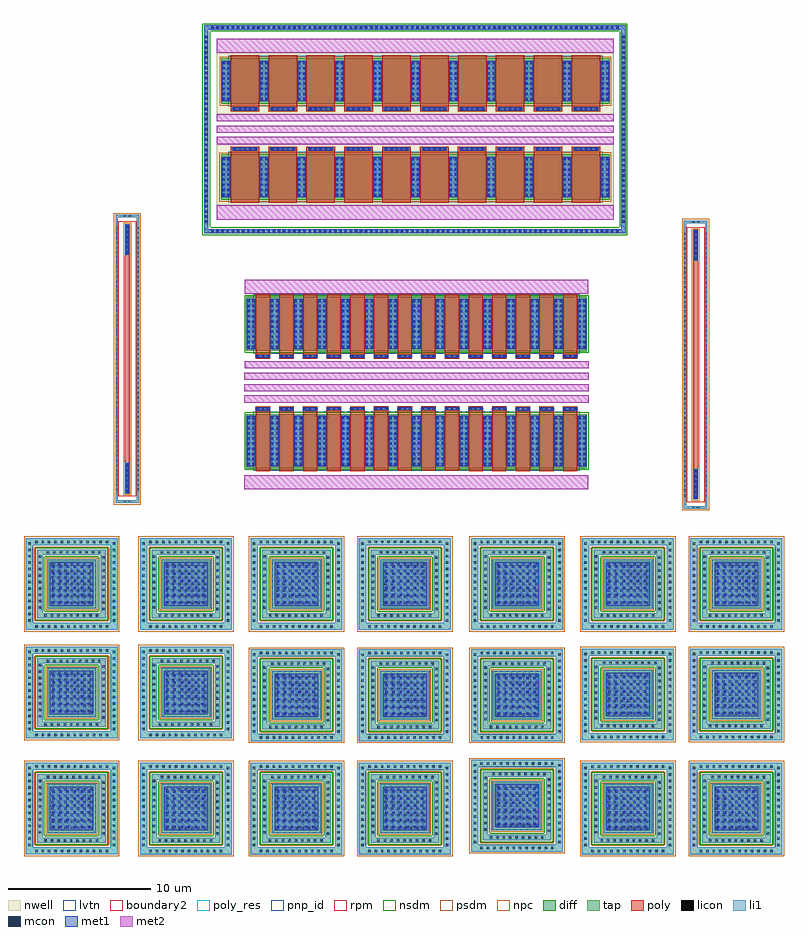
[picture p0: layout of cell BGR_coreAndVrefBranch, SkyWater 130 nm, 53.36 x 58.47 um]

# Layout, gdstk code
import gdstk
lib = gdstk.Library(unit=1e-6, precision=1e-09)
def R(c, l, rs):  # rectangles x0, y0, x1, y1
    for r in rs: c.add(gdstk.rectangle(r[:2], r[2:], *l))
def A(c, l, x, y, w, h, nx, ny, dx, dy):  # array of equal rectangles
    R(c, l, [(x+i*dx, y+j*dy, x+i*dx+w, y+j*dy+h) for i in range(nx) for j in range(ny)])
def P(c, l, *ps):  # polygons
    for p in ps: c.add(gdstk.Polygon(p, *l))
nwell = (64, 20)
diff = (65, 20)
tap = (65, 44)
poly_res = (66, 13)
poly = (66, 20)
licon = (66, 44)
li1 = (67, 20)
mcon = (67, 44)
met1 = (68, 20)
met2 = (69, 20)
pnp_id = (82, 44)
rpm = (86, 20)
nsdm = (93, 44)
psdm = (94, 20)
npc = (95, 20)
lvtn = (125, 44)
boundary2 = (236, 0)

pfet = lib.new_cell('pfet')
R(pfet, nwell, [(-0.305,-0.38,3.625,3.92)])
R(pfet, diff, [(0,0,3.32,3.2)])
R(pfet, poly, [(0.66,-0.2,2.66,3.4), (0.66,3.4,2.66,3.73)])
A(pfet, licon, 0.065, 0.255, 0.17, 0.17, 1, 8, 0, 0.36)
A(pfet, licon, 0.425, 0.255, 0.17, 0.17, 1, 8, 0, 0.36)
A(pfet, licon, 2.725, 0.255, 0.17, 0.17, 1, 8, 0, 0.36)
A(pfet, licon, 3.085, 0.255, 0.17, 0.17, 1, 8, 0, 0.36)
A(pfet, licon, 0.855, 3.48, 0.17, 0.17, 5, 1, 0.36, 0)
R(pfet, li1, [(0.065,0.175,0.595,3.025), (2.725,0.175,3.255,3.025), (0.775,3.48,2.545,3.65)])
A(pfet, mcon, 0.065, 0.255, 0.17, 0.17, 1, 8, 0, 0.36)
A(pfet, mcon, 0.425, 0.255, 0.17, 0.17, 1, 8, 0, 0.36)
A(pfet, mcon, 2.725, 0.255, 0.17, 0.17, 1, 8, 0, 0.36)
A(pfet, mcon, 3.085, 0.255, 0.17, 0.17, 1, 8, 0, 0.36)
A(pfet, mcon, 0.855, 3.48, 0.17, 0.17, 5, 1, 0.36, 0)
R(pfet, met1, [(0.035,0.195,0.625,3.005), (2.695,0.195,3.285,3.005), (0.795,3.45,2.525,3.68)])
R(pfet, psdm, [(-0.125,-0.125,3.445,3.325)])
R(pfet, npc, [(0.65,3.39,2.67,3.74)])
R(pfet, lvtn, [(0.48,-0.18,2.84,3.38)])

nfet = lib.new_cell('nfet')
R(nfet, diff, [(0,0,2.32,3.8)])
R(nfet, poly, [(0.66,-0.2,1.66,4), (0.66,4,1.66,4.33)])
A(nfet, licon, 0.065, 0.195, 0.17, 0.17, 1, 10, 0, 0.36)
A(nfet, licon, 0.425, 0.195, 0.17, 0.17, 1, 10, 0, 0.36)
A(nfet, licon, 1.725, 0.195, 0.17, 0.17, 1, 10, 0, 0.36)
A(nfet, licon, 2.085, 0.195, 0.17, 0.17, 1, 10, 0, 0.36)
A(nfet, licon, 0.715, 4.08, 0.17, 0.17, 3, 1, 0.36, 0)
R(nfet, li1, [(0.065,0.115,0.595,3.685), (1.725,0.115,2.255,3.685), (0.635,4.08,1.685,4.25)])
A(nfet, mcon, 0.065, 0.195, 0.17, 0.17, 1, 10, 0, 0.36)
A(nfet, mcon, 0.425, 0.195, 0.17, 0.17, 1, 10, 0, 0.36)
A(nfet, mcon, 1.725, 0.195, 0.17, 0.17, 1, 10, 0, 0.36)
A(nfet, mcon, 2.085, 0.195, 0.17, 0.17, 1, 10, 0, 0.36)
A(nfet, mcon, 0.715, 4.08, 0.17, 0.17, 3, 1, 0.36, 0)
R(nfet, met1, [(0.035,0.135,0.625,3.665), (1.695,0.135,2.285,3.665), (0.655,4.05,1.665,4.28)])
R(nfet, nsdm, [(-0.125,-0.125,2.445,3.925)])
R(nfet, npc, [(0.65,3.99,1.67,4.34)])
R(nfet, lvtn, [(0.48,-0.18,1.84,3.98)])

pfet_1 = lib.new_cell('pfet$1')
R(pfet_1, nwell, [(-0.305,-0.72,3.625,3.58)])
R(pfet_1, diff, [(0,0,3.32,3.2)])
R(pfet_1, poly, [(0.66,-0.53,2.66,-0.2), (0.66,-0.2,2.66,3.4)])
A(pfet_1, licon, 0.855, -0.45, 0.17, 0.17, 5, 1, 0.36, 0)
A(pfet_1, licon, 0.065, 0.255, 0.17, 0.17, 1, 8, 0, 0.36)
A(pfet_1, licon, 0.425, 0.255, 0.17, 0.17, 1, 8, 0, 0.36)
A(pfet_1, licon, 2.725, 0.255, 0.17, 0.17, 1, 8, 0, 0.36)
A(pfet_1, licon, 3.085, 0.255, 0.17, 0.17, 1, 8, 0, 0.36)
R(pfet_1, li1, [(0.775,-0.45,2.545,-0.28), (0.065,0.175,0.595,3.025), (2.725,0.175,3.255,3.025)])
A(pfet_1, mcon, 0.855, -0.45, 0.17, 0.17, 5, 1, 0.36, 0)
A(pfet_1, mcon, 0.065, 0.255, 0.17, 0.17, 1, 8, 0, 0.36)
A(pfet_1, mcon, 0.425, 0.255, 0.17, 0.17, 1, 8, 0, 0.36)
A(pfet_1, mcon, 2.725, 0.255, 0.17, 0.17, 1, 8, 0, 0.36)
A(pfet_1, mcon, 3.085, 0.255, 0.17, 0.17, 1, 8, 0, 0.36)
R(pfet_1, met1, [(0.795,-0.48,2.525,-0.25), (0.035,0.195,0.625,3.005), (2.695,0.195,3.285,3.005)])
R(pfet_1, psdm, [(-0.125,-0.125,3.445,3.325)])
R(pfet_1, npc, [(0.65,-0.54,2.67,-0.19)])
R(pfet_1, lvtn, [(0.48,-0.18,2.84,3.38)])

guard_ring_gen = lib.new_cell('guard_ring_gen')
P(guard_ring_gen, tap, [(-0.3,-0.3),(-0.3,14),(0,14),(0,0),(29,0),(29,14),(-0.3,14),(-0.3,14.3),(29.3,14.3),(29.3,-0.3)])
A(guard_ring_gen, licon, 0.195, -0.235, 0.17, 0.17, 80, 2, 0.36, 14.3)
A(guard_ring_gen, licon, -0.235, 0.435, 0.17, 0.17, 1, 37, 0, 0.36)
A(guard_ring_gen, licon, 29.065, 0.435, 0.17, 0.17, 1, 37, 0, 0.36)
P(guard_ring_gen, li1, [(-0.3,-0.3),(-0.3,14),(0,14),(0,0),(29,0),(29,14),(-0.3,14),(-0.3,14.3),(29.3,14.3),(29.3,-0.3)])
A(guard_ring_gen, mcon, 0.195, -0.235, 0.17, 0.17, 80, 2, 0.36, 14.3)
A(guard_ring_gen, mcon, -0.235, 0.435, 0.17, 0.17, 1, 37, 0, 0.36)
A(guard_ring_gen, mcon, 29.065, 0.435, 0.17, 0.17, 1, 37, 0, 0.36)
P(guard_ring_gen, met1, [(-0.3,-0.3),(-0.3,14),(0,14),(0,0),(29,0),(29,14),(-0.3,14),(-0.3,14.3),(29.3,14.3),(29.3,-0.3)])
P(guard_ring_gen, nsdm, [(-0.425,-0.425),(-0.425,13.875),(0.125,13.875),(0.125,0.125),(28.875,0.125),(28.875,13.875),(-0.425,13.875),(-0.425,14.425),(29.425,14.425),(29.425,-0.425)])

pnp_bjt = lib.new_cell('pnp_bjt')
R(pnp_bjt, nwell, [(0.765,0.765,5.935,5.935)])
R(pnp_bjt, diff, [(1.65,1.65,5.05,5.05)])
P(pnp_bjt, tap, [(0.945,0.945),(0.945,5.755),(5.395,5.755),(5.395,5.395),(1.305,5.395),(1.305,1.305),(5.395,1.305),(5.395,5.755),(5.755,5.755),(5.755,0.945)],
  [(0.13,0.13),(0.13,6.57),(6.065,6.57),(6.065,6.065),(0.635,6.065),(0.635,0.635),(6.065,0.635),(6.065,6.57),(6.57,6.57),(6.57,0.13)])
A(pnp_bjt, licon, 0.78, 0.29, 0.17, 0.17, 12, 2, 0.45, 5.935)
A(pnp_bjt, licon, 0.3, 0.71, 0.17, 0.17, 1, 13, 0, 0.45)
A(pnp_bjt, licon, 6.235, 0.71, 0.17, 0.17, 1, 13, 0, 0.45)
A(pnp_bjt, licon, 1.43, 1.04, 0.17, 0.17, 9, 1, 0.45, 0)
A(pnp_bjt, licon, 5.49, 1.51, 0.17, 0.17, 1, 9, 0, 0.45)
A(pnp_bjt, licon, 1.04, 1.605, 0.17, 0.17, 1, 9, 0, 0.45)
A(pnp_bjt, licon, 1.92, 1.92, 0.17, 0.17, 7, 7, 0.45, 0.45)
A(pnp_bjt, licon, 1.6, 5.49, 0.17, 0.17, 9, 1, 0.45, 0)
A(pnp_bjt, li1, 0.58, 0.21, 0.33, 0.33, 12, 1, 0.45, 0)
A(pnp_bjt, li1, 0.675, 0.24, 0.27, 0.27, 11, 2, 0.5, 5.96)
A(pnp_bjt, li1, 6.16, 0.54, 0.33, 0.33, 1, 13, 0, 0.45)
A(pnp_bjt, li1, 0.22, 0.63, 0.33, 0.33, 1, 13, 0, 0.45)
A(pnp_bjt, li1, 1.35, 0.96, 0.33, 0.33, 9, 1, 0.45, 0)
A(pnp_bjt, li1, 1.14, 0.985, 0.27, 0.27, 9, 1, 0.5, 0)
A(pnp_bjt, li1, 5.41, 1.43, 0.33, 0.33, 1, 9, 0, 0.45)
A(pnp_bjt, li1, 0.96, 1.525, 0.33, 0.33, 1, 9, 0, 0.45)
A(pnp_bjt, li1, 1.84, 1.84, 0.33, 0.33, 7, 7, 0.45, 0.45)
A(pnp_bjt, li1, 1.93, 1.93, 0.27, 0.27, 6, 6, 0.5, 0.5)
A(pnp_bjt, li1, 1.52, 5.41, 0.33, 0.33, 9, 1, 0.45, 0)
A(pnp_bjt, li1, 1.155, 5.44, 0.27, 0.27, 9, 1, 0.5, 0)
A(pnp_bjt, li1, 0.7, 6.165, 0.33, 0.33, 12, 1, 0.45, 0)
R(pnp_bjt, li1, [(1.615,1.615,5.085,5.085), (1.65,1.65,5.05,5.05)])
P(pnp_bjt, li1, [(0.13,0.13),(0.13,6.57),(6.075,6.57),(6.075,6.075),(0.625,6.075),(0.625,0.625),(6.075,0.625),(6.075,6.57),(6.57,6.57),(6.57,0.13)],
  [(0.945,0.945),(0.945,5.755),(5.395,5.755),(5.395,5.395),(1.305,5.395),(1.305,1.305),(5.395,1.305),(5.395,5.755),(5.755,5.755),(5.755,0.945)])
A(pnp_bjt, mcon, 1.98, 1.98, 0.17, 0.17, 6, 6, 0.5, 0.5)
A(pnp_bjt, met1, 1.93, 1.93, 0.27, 0.27, 6, 6, 0.5, 0.5)
R(pnp_bjt, met1, [(1.825,1.825,4.875,4.875)])
R(pnp_bjt, pnp_id, [(0.135,0.135,6.565,6.565)])
P(pnp_bjt, nsdm, [(0.805,0.805),(0.805,5.895),(5.265,5.895),(5.265,5.265),(1.435,5.265),(1.435,1.435),(5.265,1.435),(5.265,5.895),(5.895,5.895),(5.895,0.805)])
R(pnp_bjt, psdm, [(1.52,1.52,5.18,5.18)])
P(pnp_bjt, psdm, [(0,0),(0,6.7),(5.935,6.7),(5.935,5.935),(0.765,5.935),(0.765,0.765),(5.935,0.765),(5.935,6.7),(6.7,6.7),(6.7,0)])
R(pnp_bjt, boundary2, [(0.13,0.13,6.57,6.57)])
pnp_bjt.add(gdstk.Label('Emitter', (3.39,3.39), layer=67, texttype=5))
pnp_bjt.add(gdstk.Label('Collector', (3.32,6.38), layer=67, texttype=5))
pnp_bjt.add(gdstk.Label('Base', (3.245,5.61), layer=67, texttype=5))

res_poly = lib.new_cell('res_poly')
R(res_poly, tap, [(-0.825,-10.11,0.825,-9.94), (-0.825,-9.94,-0.655,9.94), (0.655,-9.94,0.825,9.94), (-0.825,9.94,0.825,10.11)])
R(res_poly, poly_res, [(-0.175,-7.36,0.175,7.36)])
R(res_poly, poly, [(-0.175,-9.46,0.175,9.46)])
A(res_poly, licon, -0.825, -9.265, 0.17, 0.17, 1, 55, 0, 0.34)
A(res_poly, licon, 0.655, -9.265, 0.17, 0.17, 1, 55, 0, 0.34)
R(res_poly, licon, [(-0.255,-10.11,-0.085,-9.94), (0.085,-10.11,0.255,-9.94), (-0.095,-9.38,0.095,-7.38), (-0.095,7.38,0.095,9.38), (-0.255,9.94,-0.085,10.11), (0.085,9.94,0.255,10.11)])
R(res_poly, li1, [(-0.825,-10.11,0.825,-9.94), (-0.825,-9.94,-0.655,9.94), (0.655,-9.94,0.825,9.94), (-0.175,-9.46,0.175,-7.3), (-0.175,7.3,0.175,9.46), (-0.825,9.94,0.825,10.11)])
A(res_poly, mcon, -0.085, -9.36, 0.17, 0.17, 1, 6, 0, 0.36)
A(res_poly, mcon, -0.085, 7.395, 0.17, 0.17, 1, 6, 0, 0.36)
R(res_poly, met1, [(-0.125,-9.43,0.125,-7.325), (-0.125,7.325,0.125,9.43)])
R(res_poly, rpm, [(-0.635,-9.66,0.635,9.66)])
R(res_poly, psdm, [(-0.95,-10.235,0.95,10.235)])
R(res_poly, npc, [(-0.27,-9.555,0.27,9.555)])

res_poly_3 = lib.new_cell('res_poly$3')
R(res_poly_3, tap, [(-0.825,-10.11,0.825,-9.94), (-0.825,-9.94,-0.655,9.94), (0.655,-9.94,0.825,9.94), (-0.825,9.94,0.825,10.11)])
R(res_poly_3, poly_res, [(-0.175,-7.36,0.175,7.36)])
R(res_poly_3, poly, [(-0.175,-9.46,0.175,9.46)])
A(res_poly_3, licon, -0.825, -9.265, 0.17, 0.17, 1, 55, 0, 0.34)
A(res_poly_3, licon, 0.655, -9.265, 0.17, 0.17, 1, 55, 0, 0.34)
R(res_poly_3, licon, [(-0.255,-10.11,-0.085,-9.94), (0.085,-10.11,0.255,-9.94), (-0.095,-9.38,0.095,-7.38), (-0.095,7.38,0.095,9.38), (-0.255,9.94,-0.085,10.11), (0.085,9.94,0.255,10.11)])
R(res_poly_3, li1, [(-0.825,-10.11,0.825,-9.94), (-0.825,-9.94,-0.655,9.94), (0.655,-9.94,0.825,9.94), (-0.175,-9.46,0.175,-7.3), (-0.175,7.3,0.175,9.46), (-0.825,9.94,0.825,10.11)])
A(res_poly_3, mcon, -0.085, -9.36, 0.17, 0.17, 1, 6, 0, 0.36)
A(res_poly_3, mcon, -0.085, 7.395, 0.17, 0.17, 1, 6, 0, 0.36)
R(res_poly_3, met1, [(-0.125,-9.43,0.125,-7.325), (-0.125,7.325,0.125,9.43)])
R(res_poly_3, rpm, [(-0.635,-9.66,0.635,9.66)])
R(res_poly_3, psdm, [(-0.95,-10.235,0.95,10.235)])
R(res_poly_3, npc, [(-0.27,-9.555,0.27,9.555)])

bgr_coreandvrefbranch = lib.new_cell('BGR_coreAndVrefBranch')
R(bgr_coreandvrefbranch, lvtn, [(109.933,37.93,132.872,42.09), (109.932,46.156,132.871,50.317), (108.17,56.769,134.47,60.329), (113.49,56.77,129.15,60.33), (108.175,63.51,134.475,67.07), (113.495,63.51,129.155,67.07)])
bgr_coreandvrefbranch.add(gdstk.FlexPath([(135.262,67.77),(107.39,67.77)], 1, ends="flush", simple_path=True, layer=69, datatype=20))  # met2
bgr_coreandvrefbranch.add(gdstk.FlexPath([(135.262,62.72),(107.391,62.72)], 0.5, ends="flush", simple_path=True, layer=69, datatype=20))  # met2
bgr_coreandvrefbranch.add(gdstk.FlexPath([(135.262,61.12),(107.384,61.12)], 0.5, ends="flush", simple_path=True, layer=69, datatype=20))  # met2
bgr_coreandvrefbranch.add(gdstk.FlexPath([(135.254,56.07),(107.384,56.07)], 1, ends="flush", simple_path=True, layer=69, datatype=20))  # met2
bgr_coreandvrefbranch.add(gdstk.FlexPath([(135.262,61.92),(107.391,61.92)], 0.5, ends="flush", simple_path=True, layer=69, datatype=20))  # met2
bgr_coreandvrefbranch.add(gdstk.FlexPath([(133.481,45.368),(109.328,45.368)], 0.5, ends="flush", simple_path=True, layer=69, datatype=20))  # met2
bgr_coreandvrefbranch.add(gdstk.FlexPath([(133.48,44.567),(109.321,44.567)], 0.5, ends="flush", simple_path=True, layer=69, datatype=20))  # met2
bgr_coreandvrefbranch.add(gdstk.FlexPath([(133.491,43.768),(109.32,43.768)], 0.5, ends="flush", simple_path=True, layer=69, datatype=20))  # met2
bgr_coreandvrefbranch.add(gdstk.FlexPath([(133.491,42.968),(109.319,42.968)], 0.5, ends="flush", simple_path=True, layer=69, datatype=20))  # met2
bgr_coreandvrefbranch.add(gdstk.FlexPath([(133.473,50.854),(109.328,50.854)], 1, ends="flush", simple_path=True, layer=69, datatype=20))  # met2
bgr_coreandvrefbranch.add(gdstk.FlexPath([(133.464,37.12),(109.315,37.12)], 1, ends="flush", simple_path=True, layer=69, datatype=20))  # met2
bgr_coreandvrefbranch.add(gdstk.Reference(pfet, (113.015,66.89), x_reflection=True))
bgr_coreandvrefbranch.add(gdstk.Reference(pfet, (115.675,66.89), x_reflection=True))
bgr_coreandvrefbranch.add(gdstk.Reference(pfet, (118.335,66.89), x_reflection=True))
bgr_coreandvrefbranch.add(gdstk.Reference(pfet, (120.995,66.89), x_reflection=True))
bgr_coreandvrefbranch.add(gdstk.Reference(pfet, (123.655,66.89), x_reflection=True))
bgr_coreandvrefbranch.add(gdstk.Reference(pfet, (126.315,66.89), x_reflection=True))
bgr_coreandvrefbranch.add(gdstk.Reference(nfet, (124.394,38.112)))
bgr_coreandvrefbranch.add(gdstk.Reference(nfet, (126.054,38.112)))
bgr_coreandvrefbranch.add(gdstk.Reference(nfet, (117.754,38.113)))
bgr_coreandvrefbranch.add(gdstk.Reference(nfet, (119.414,38.113)))
bgr_coreandvrefbranch.add(gdstk.Reference(nfet, (121.074,38.113)))
bgr_coreandvrefbranch.add(gdstk.Reference(nfet, (122.734,38.113)))
bgr_coreandvrefbranch.add(gdstk.Reference(nfet, (114.432,38.111)))
bgr_coreandvrefbranch.add(gdstk.Reference(nfet, (116.092,38.111)))
bgr_coreandvrefbranch.add(gdstk.Reference(pfet, (110.354,66.89), x_reflection=True))
bgr_coreandvrefbranch.add(gdstk.Reference(pfet_1, (128.972,60.151), x_reflection=True))
bgr_coreandvrefbranch.add(gdstk.Reference(pfet_1, (110.348,60.15), x_reflection=True))
bgr_coreandvrefbranch.add(gdstk.Reference(pfet, (115.67,56.95)))
bgr_coreandvrefbranch.add(gdstk.Reference(pfet, (126.31,56.95)))
bgr_coreandvrefbranch.add(gdstk.Reference(pfet, (123.65,56.95)))
bgr_coreandvrefbranch.add(gdstk.Reference(pfet, (120.99,56.95)))
bgr_coreandvrefbranch.add(gdstk.Reference(pfet, (118.33,56.95)))
bgr_coreandvrefbranch.add(gdstk.Reference(pfet, (113.01,56.95)))
bgr_coreandvrefbranch.add(gdstk.Reference(pfet, (107.695,66.89), x_reflection=True))
bgr_coreandvrefbranch.add(gdstk.Reference(pfet_1, (131.632,60.151), x_reflection=True))
bgr_coreandvrefbranch.add(gdstk.Reference(pfet, (131.633,66.89), x_reflection=True))
bgr_coreandvrefbranch.add(gdstk.Reference(guard_ring_gen, (106.785,54.899)))
bgr_coreandvrefbranch.add(gdstk.Reference(nfet, (111.111,38.11)))
bgr_coreandvrefbranch.add(gdstk.Reference(nfet, (112.771,38.11)))
bgr_coreandvrefbranch.add(gdstk.Reference(nfet, (129.372,38.11)))
bgr_coreandvrefbranch.add(gdstk.Reference(nfet, (127.712,38.11)))
bgr_coreandvrefbranch.add(gdstk.Reference(nfet, (109.453,38.11)))
bgr_coreandvrefbranch.add(gdstk.Reference(nfet, (131.032,38.11)))
bgr_coreandvrefbranch.add(gdstk.Reference(nfet, (109.453,50.139), x_reflection=True))
bgr_coreandvrefbranch.add(gdstk.Reference(nfet, (112.771,50.139), x_reflection=True))
bgr_coreandvrefbranch.add(gdstk.Reference(nfet, (111.111,50.139), x_reflection=True))
bgr_coreandvrefbranch.add(gdstk.Reference(nfet, (129.372,50.136), x_reflection=True))
bgr_coreandvrefbranch.add(gdstk.Reference(nfet, (127.712,50.136), x_reflection=True))
bgr_coreandvrefbranch.add(gdstk.Reference(nfet, (116.091,50.137), x_reflection=True))
bgr_coreandvrefbranch.add(gdstk.Reference(nfet, (114.431,50.137), x_reflection=True))
bgr_coreandvrefbranch.add(gdstk.Reference(nfet, (126.053,50.136), x_reflection=True))
bgr_coreandvrefbranch.add(gdstk.Reference(nfet, (124.393,50.136), x_reflection=True))
bgr_coreandvrefbranch.add(gdstk.Reference(nfet, (121.071,50.136), x_reflection=True))
bgr_coreandvrefbranch.add(gdstk.Reference(nfet, (122.731,50.136), x_reflection=True))
bgr_coreandvrefbranch.add(gdstk.Reference(nfet, (119.411,50.136), x_reflection=True))
bgr_coreandvrefbranch.add(gdstk.Reference(nfet, (117.751,50.136), x_reflection=True))
bgr_coreandvrefbranch.add(gdstk.Reference(nfet, (131.032,50.138), x_reflection=True))
bgr_coreandvrefbranch.add(gdstk.Reference(pnp_bjt, (109.614,18.82)))
bgr_coreandvrefbranch.add(gdstk.Reference(pnp_bjt, (117.23,26.634)))
bgr_coreandvrefbranch.add(gdstk.Reference(pnp_bjt, (117.229,18.819)))
bgr_coreandvrefbranch.add(gdstk.Reference(pnp_bjt, (125.114,18.82)))
bgr_coreandvrefbranch.add(gdstk.Reference(pnp_bjt, (125.112,11.058)))
bgr_coreandvrefbranch.add(gdstk.Reference(pnp_bjt, (117.227,10.855)))
bgr_coreandvrefbranch.add(gdstk.Reference(pnp_bjt, (109.612,10.855)))
bgr_coreandvrefbranch.add(gdstk.Reference(pnp_bjt, (109.615,26.632)))
bgr_coreandvrefbranch.add(gdstk.Reference(pnp_bjt, (125.115,26.632)))
bgr_coreandvrefbranch.add(gdstk.Reference(pfet, (128.974,66.89), x_reflection=True))
bgr_coreandvrefbranch.add(gdstk.Reference(pfet_1, (107.69,60.149), x_reflection=True))
bgr_coreandvrefbranch.add(gdstk.Reference(pnp_bjt, (101.857,19.003)))
bgr_coreandvrefbranch.add(gdstk.Reference(pnp_bjt, (101.857,10.857)))
bgr_coreandvrefbranch.add(gdstk.Reference(pnp_bjt, (132.888,18.873)))
bgr_coreandvrefbranch.add(gdstk.Reference(pnp_bjt, (132.888,26.631)))
bgr_coreandvrefbranch.add(gdstk.Reference(pnp_bjt, (101.857,26.632)))
bgr_coreandvrefbranch.add(gdstk.Reference(pnp_bjt, (132.888,10.857)))
bgr_coreandvrefbranch.add(gdstk.Reference(pnp_bjt, (140.501,10.857)))
bgr_coreandvrefbranch.add(gdstk.Reference(pnp_bjt, (140.501,18.872)))
bgr_coreandvrefbranch.add(gdstk.Reference(pnp_bjt, (93.841,26.632)))
bgr_coreandvrefbranch.add(gdstk.Reference(pnp_bjt, (93.841,19.004)))
bgr_coreandvrefbranch.add(gdstk.Reference(pnp_bjt, (93.841,10.859)))
bgr_coreandvrefbranch.add(gdstk.Reference(pnp_bjt, (140.501,26.632)))
bgr_coreandvrefbranch.add(gdstk.Reference(res_poly, (101.095,45.786)))
bgr_coreandvrefbranch.add(gdstk.Reference(res_poly_3, (141.004,45.376)))

lib.write_gds('BGR_coreAndVrefBranch.gds')
